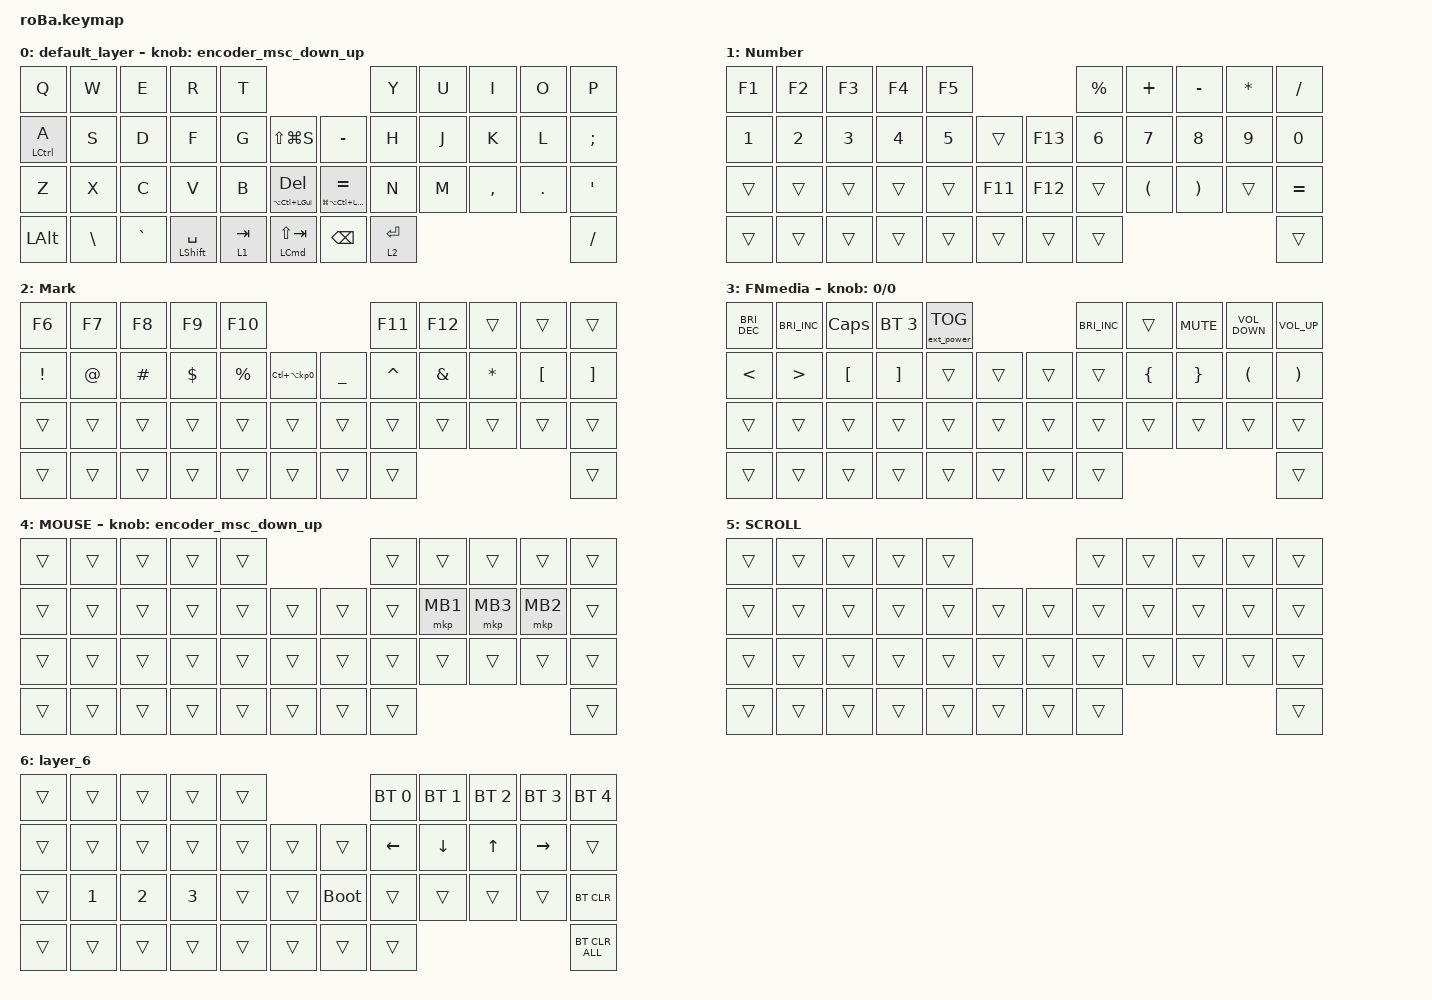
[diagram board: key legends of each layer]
#include <input/processors.dtsi>
#include <behaviors.dtsi>
#include <dt-bindings/zmk/bt.h>
#include <dt-bindings/zmk/ext_power.h>
#include <dt-bindings/zmk/keys.h>
#include <dt-bindings/zmk/pointing.h>

#define ZMK_POINTING_DEFAULT_SCRL_VAL 100

&sl { release-after-ms = <250>; };

&mt {
    flavor = "balanced";
    quick-tap-ms = <0>;
};


/ {
    combos {
        compatible = "zmk,combos";

        escape {
            bindings = <&kp ESCAPE>;
            key-positions = <18 19>;
            layers = <0>;
        };

        btn {
            bindings = <&bt BT_NXT>;
            key-positions = <34 9>;
        };

        tojapanese {
            bindings = <&kp LS(LA(LC(LG(J))))>;
            key-positions = <11 12>;
        };

        toenglish {
            bindings = <&kp LS(LA(LC(LG(K))))>;
            key-positions = <20 18>;
        };
    };

    macros {
        to_layer_0: to_layer_0 {
            compatible = "zmk,behavior-macro-one-param";
            #binding-cells = <1>;
            bindings = <&to 0 &macro_param_1to1 &kp MACRO_PLACEHOLDER>;
            label = "TO_LAYER_0";
        };
    };

    behaviors {
        lt_to_layer_0: lt_to_layer_0 {
            compatible = "zmk,behavior-hold-tap";
            label = "LAYER_TAP_TO_0";
            bindings = <&mo>, <&to_layer_0>;

            #binding-cells = <2>;
            tapping-term-ms = <200>;
        };

        encoder_msc_down_up: encoder_msc_down_up {
            compatible = "zmk,behavior-sensor-rotate";
            label = "ENCODER_MSC_DOWN_UP";
            #sensor-binding-cells = <0>;
            bindings = <&msc SCRL_DOWN>, <&msc SCRL_UP>;

            tap-ms = <20>;
        };
    };

    keymap {
        compatible = "zmk,keymap";

        default_layer {
            bindings = <
&kp Q               &kp W          &kp E      &kp R                 &kp T                                                                                    &kp Y                   &kp U  &kp I      &kp O    &kp P
&mt LEFT_CONTROL A  &kp S          &kp D      &kp F                 &kp G                 &kp LS(LG(S))                    &kp MINUS                         &kp H                   &kp J  &kp K      &kp L    &kp SEMICOLON
&kp Z               &kp X          &kp C      &kp V                 &kp B                 &mt LA(LC(LEFT_GUI)) DELETE      &mt LG(LA(LC(LEFT_SHIFT))) EQUAL  &kp N                   &kp M  &kp COMMA  &kp DOT  &kp SINGLE_QUOTE
&kp LEFT_ALT        &kp BACKSLASH  &kp GRAVE  &mt LEFT_SHIFT SPACE  &lt_to_layer_0 1 TAB  &mt LEFT_COMMAND LS(TAB)         &kp BACKSPACE                     &lt_to_layer_0 2 ENTER                             &kp SLASH
            >;

            sensor-bindings = <&encoder_msc_down_up>;
        };

        Number {
            bindings = <
&kp F1        &kp F2        &kp F3        &kp F4        &kp F5                        &kp PERCENT   &kp PLUS              &kp MINUS              &kp ASTERISK  &kp SLASH
&kp NUMBER_1  &kp NUMBER_2  &kp NUMBER_3  &kp NUMBER_4  &kp N5  &trans       &kp F13  &kp NUMBER_6  &kp N7                &kp N8                 &kp N9        &kp N0
&trans        &trans        &trans        &trans        &trans  &kp F11      &kp F12  &trans        &kp LEFT_PARENTHESIS  &kp RIGHT_PARENTHESIS  &trans        &kp EQUAL
&trans        &trans        &trans        &trans        &trans  &trans       &trans   &trans                                                                   &trans
            >;
        };

        Mark {
            bindings = <
&kp F6           &kp F7       &kp F8    &kp F9      &kp F10                                                   &kp F11    &kp F12        &trans        &trans            &trans
&kp EXCLAMATION  &kp AT_SIGN  &kp HASH  &kp DOLLAR  &kp PERCENT  &kp LC(LA(KP_NUMBER_0))      &kp UNDERSCORE  &kp CARET  &kp AMPERSAND  &kp ASTERISK  &kp LEFT_BRACKET  &kp RIGHT_BRACKET
&trans           &trans       &trans    &trans      &trans       &trans                       &trans          &trans     &trans         &trans        &trans            &trans
&trans           &trans       &trans    &trans      &trans       &trans                       &trans          &trans                                                    &trans
            >;
        };

        FNmedia {
            bindings = <
&kp C_BRI_DEC  &kp C_BRI_INC     &kp CAPS          &bt BT_SEL 3       &ext_power EP_TOG                      &kp C_BRIGHTNESS_INC  &trans          &kp C_MUTE       &kp K_VOLUME_DOWN     &kp K_VOLUME_UP
&kp LESS_THAN  &kp GREATER_THAN  &kp LEFT_BRACKET  &kp RIGHT_BRACKET  &trans             &trans      &trans  &trans                &kp LEFT_BRACE  &kp RIGHT_BRACE  &kp LEFT_PARENTHESIS  &kp RIGHT_PARENTHESIS
&trans         &trans            &trans            &trans             &trans             &trans      &trans  &trans                &trans          &trans           &trans                &trans
&trans         &trans            &trans            &trans             &trans             &trans      &trans  &trans                                                                       &trans
            >;

            sensor-bindings = <&inc_dec_kp 0 0>;
        };

        MOUSE {
            bindings = <
&trans  &trans  &trans  &trans  &trans                      &trans  &trans    &trans    &trans    &trans
&trans  &trans  &trans  &trans  &trans  &trans      &trans  &trans  &mkp MB1  &mkp MB3  &mkp MB2  &trans
&trans  &trans  &trans  &trans  &trans  &trans      &trans  &trans  &trans    &trans    &trans    &trans
&trans  &trans  &trans  &trans  &trans  &trans      &trans  &trans                                &trans
            >;

            sensor-bindings = <&encoder_msc_down_up>;
        };

        SCROLL {
            bindings = <
&trans  &trans  &trans  &trans  &trans                      &trans  &trans  &trans  &trans  &trans
&trans  &trans  &trans  &trans  &trans  &trans      &trans  &trans  &trans  &trans  &trans  &trans
&trans  &trans  &trans  &trans  &trans  &trans      &trans  &trans  &trans  &trans  &trans  &trans
&trans  &trans  &trans  &trans  &trans  &trans      &trans  &trans                          &trans
            >;
        };

        layer_6 {
            bindings = <
&trans  &trans        &trans        &trans        &trans                           &bt BT_SEL 0  &bt BT_SEL 1    &bt BT_SEL 2  &bt BT_SEL 3  &bt BT_SEL 4
&trans  &trans        &trans        &trans        &trans  &trans      &trans       &kp LEFT      &kp DOWN_ARROW  &kp UP_ARROW  &kp RIGHT     &trans
&trans  &kp NUMBER_1  &kp NUMBER_2  &kp NUMBER_3  &trans  &trans      &bootloader  &trans        &trans          &trans        &trans        &bt BT_CLR
&trans  &trans        &trans        &trans        &trans  &trans      &trans       &trans                                                    &bt BT_CLR_ALL
            >;
        };
    };

    conditional_layers {
        compatible = "zmk,conditional-layers";

        FNMedia {
            if-layers = <1 2>;
            then-layer = <3>;
        };
    };
};
